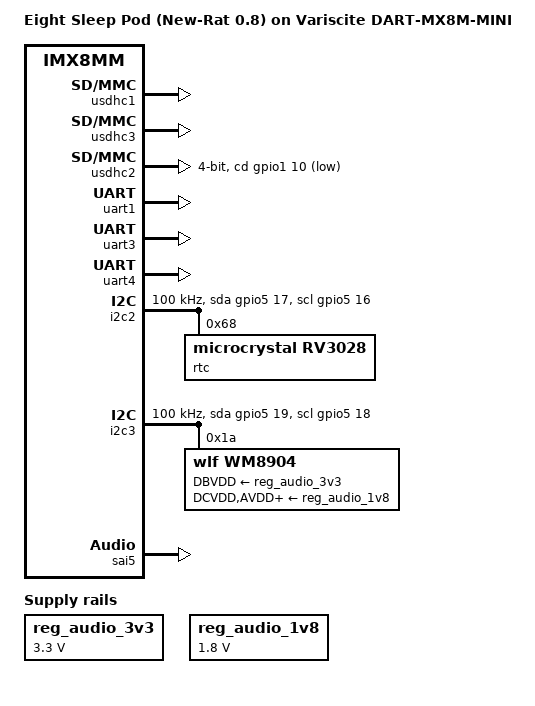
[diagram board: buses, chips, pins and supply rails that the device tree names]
// SPDX-License-Identifier: GPL-2.0
/*
 * Eight Sleep Pod ("New-Rat 0.8" carrier) — clean-room FOSS OS device tree.
 *
 * SoC : NXP i.MX8M Mini
 * SoM : Variscite DART-MX8M-MINI   (compatible "variscite,dart-mx8mm")
 * Board: Eight Sleep "New-Rat 0.8" carrier
 *
 * This file reuses the upstream Variscite DART SoM .dtsi (GPL, ships in the
 * Variscite BSP linux-imx 5.4.x kernel tree) for everything that lives on the
 * SoM — the BD71847 PMIC, on-SoM eMMC (uSDHC3), the Broadcom WiFi/BT module
 * (uSDHC1 SDIO + BT UART) and the SoC/clock/pinctrl skeleton — and then applies
 * ONLY the New-Rat carrier deltas below. It is compiled in-tree by Buildroot
 * (BR2_LINUX_KERNEL_CUSTOM_DTS_PATH copies it into
 * arch/arm64/boot/dts/freescale/), so the kernel-tree includes resolve.
 *
 * Carrier deltas expressed here:
 *   - uSDHC2 (microSD)                      -> mmc1, the published image's boot medium
 *   - UART1 (ttymxc0)                       -> Sensor STM32 MCU   (podd drives it)
 *   - UART3 (ttymxc2)                       -> Frozen STM32 MCU   (podd drives it)
 *   - UART4 (ttymxc3)                       -> console / stdout   (not broken out, harmless)
 *   - I2C2 (/dev/i2c-1)                     -> RV-3028 RTC + IS31FL3194 LED + PCAL6416A expander
 *   - I2C3                                  -> WM8904 audio codec (chime/alarm) + SAI5
 *   - FEC ethernet                          -> DISABLED (no PHY populated on this carrier)
 *
 * Anything not mentioned here (display/LVDS bridge, MIPI-DSI, touch, CAN, the
 * ECSPI SPI peripherals) is intentionally left off — not populated / not used
 * by podd. The stock vendor tree enabled some of those; the New-Rat unit does
 * not need them.
 */

/dts-v1/;

#include <dt-bindings/gpio/gpio.h>
#include <dt-bindings/pinctrl/imx8mm-pinfunc.h>

// Verified against the pinned kernel (varigit/linux-imx @ 5.4-2.3.x-imx_var01):
// imx8mm-var-dart.dtsi is the DART-MX8M-MINI SoM base — it directly defines the
// BD71847 PMIC (&i2c1), eMMC (&usdhc3), and WiFi (&usdhc1), and pulls in the SoC
// base via #include "imx8mm.dtsi". Correct single include for SoM bring-up.
#include "imx8mm-var-dart.dtsi"

/ {
	model = "Eight Sleep Pod (New-Rat 0.8) on Variscite DART-MX8M-MINI";
	compatible = "eightsleep,pod-newrat", "variscite,dart-mx8mm", "fsl,imx8mm";

	chosen {
		/* UART4. Console pins are not physically broken out on this carrier,
		 * but keeping stdout here is harmless and matches the vendor bootargs. */
		stdout-path = "serial3:115200n8";
	};

	/*
	 * LOAD-BEARING device-node numbering. podd hard-codes /dev/ttymxc0 (Sensor),
	 * /dev/ttymxc2 (Frozen) and /dev/i2c-1 (RTC + LED + expander). These aliases
	 * match the upstream i.MX8MM convention (so they are mostly redundant with
	 * the base dtsi) but are pinned explicitly here because podd depends on them.
	 */
	aliases {
		serial0 = &uart1;	/* ttymxc0 — Sensor MCU        */
		serial1 = &uart2;	/* ttymxc1 — Bluetooth (SoM)   */
		serial2 = &uart3;	/* ttymxc2 — Frozen MCU        */
		serial3 = &uart4;	/* ttymxc3 — console           */
		i2c0 = &i2c1;		/* i2c-0 — BD71847 PMIC (SoM)  */
		i2c1 = &i2c2;		/* i2c-1 — RTC + LED + expander (podd) */
		i2c2 = &i2c3;		/* i2c-2 — WM8904 audio codec  */
		i2c3 = &i2c4;		/* i2c-3 — unused              */
	};

	/* Carrier-local codec rails. In the vendor tree DBVDD came from a fixed
	 * 3V3 supply and the digital/analog rails from PMIC LDO5 (1V8). Both are
	 * always-on, so self-contained fixed regulators are functionally equivalent
	 * and keep this file independent of the base dtsi's PMIC regulator labels. */
	reg_audio_3v3: regulator-audio-3v3 {
		compatible = "regulator-fixed";
		regulator-name = "audio_3v3";
		regulator-min-microvolt = <3300000>;
		regulator-max-microvolt = <3300000>;
		regulator-always-on;
	};

	reg_audio_1v8: regulator-audio-1v8 {
		compatible = "regulator-fixed";
		regulator-name = "audio_1v8";
		regulator-min-microvolt = <1800000>;
		regulator-max-microvolt = <1800000>;
		regulator-always-on;
	};

	sound-wm8904 {
		compatible = "simple-audio-card";
		simple-audio-card,name = "wm8904-audio";
		simple-audio-card,format = "i2s";
		simple-audio-card,mclk-fs = <256>;
		simple-audio-card,bitclock-master = <&codec_dai>;
		simple-audio-card,frame-master = <&codec_dai>;
		simple-audio-card,widgets =
			"Microphone", "Microphone Jack",
			"Headphone", "Headphone Jack",
			"Line", "Line In Jack";
		simple-audio-card,routing =
			"Headphone Jack", "HPOUTL",
			"Headphone Jack", "HPOUTR",
			"IN2L", "Line In Jack",
			"IN2R", "Line In Jack",
			"IN1L", "Microphone Jack",
			"IN1R", "Microphone Jack";

		codec_dai: simple-audio-card,codec {
			sound-dai = <&wm8904>;
		};

		simple-audio-card,cpu {
			sound-dai = <&sai5>;
		};
	};
};

/* ---------------------------------------------------------------------------
 * SoM peripherals the board switches on. The DART SoM dtsi defines these (with
 * pinmux, WiFi pwrseq/brcmf child, eMMC tuning); the board only needs to enable
 * them. If the pinned base leaves any of these already "okay", these re-affirm.
 * CONFIRM(agent-C): base dtsi provides uSDHC1/uSDHC3 pinmux + WiFi child nodes.
 * ------------------------------------------------------------------------- */
&usdhc1 {			/* mmc0 — Broadcom WiFi over SDIO */
	status = "okay";
};

&usdhc3 {			/* mmc2 — on-SoM eMMC */
	status = "okay";
};

/* ---------------------------------------------------------------------------
 * microSD (uSDHC2 -> mmc1). Boot medium for the published SD image. Carrier
 * peripheral, so fully specified here.
 * ------------------------------------------------------------------------- */
&usdhc2 {
	pinctrl-names = "default", "state_100mhz", "state_200mhz";
	pinctrl-0 = <&pinctrl_usdhc2>, <&pinctrl_usdhc2_gpio>;
	pinctrl-1 = <&pinctrl_usdhc2_100mhz>, <&pinctrl_usdhc2_gpio>;
	pinctrl-2 = <&pinctrl_usdhc2_200mhz>, <&pinctrl_usdhc2_gpio>;
	cd-gpios = <&gpio1 10 GPIO_ACTIVE_LOW>;
	bus-width = <4>;
	fsl,tuning-start-tap = <20>;
	fsl,tuning-step = <2>;
	status = "okay";
};

/* ---------------------------------------------------------------------------
 * MCU + console UARTs.
 * ------------------------------------------------------------------------- */
&uart1 {			/* ttymxc0 — Sensor STM32 MCU */
	pinctrl-names = "default";
	pinctrl-0 = <&pinctrl_uart1>;
	status = "okay";
};

&uart3 {			/* ttymxc2 — Frozen STM32 MCU (TX shares the ECSPI1_MOSI pad) */
	pinctrl-names = "default";
	pinctrl-0 = <&pinctrl_uart3>;
	status = "okay";
};

&uart4 {			/* ttymxc3 — console / stdout */
	pinctrl-names = "default";
	pinctrl-0 = <&pinctrl_uart4>;
	status = "okay";
};

/* UART2 (ttymxc1) is the on-SoM Bluetooth UART; left to the base dtsi. */

/* ---------------------------------------------------------------------------
 * I2C2 == /dev/i2c-1: the podd control bus.
 *   rtc@68      RV-3028                 (kernel driver)
 *   0x53        IS31FL3194 LED ring     (userspace, podd via i2c-dev)
 *   0x20        PCAL6416A GPIO expander (userspace, podd — MCU enable/reset + button)
 * The LED and expander are deliberately NOT given kernel nodes so that i2c-dev
 * owns those addresses for podd. Only the RTC gets a kernel driver.
 * ------------------------------------------------------------------------- */
&i2c2 {
	clock-frequency = <100000>;
	pinctrl-names = "default", "gpio";
	pinctrl-0 = <&pinctrl_i2c2>;
	pinctrl-1 = <&pinctrl_i2c2_gpio>;
	scl-gpios = <&gpio5 16 GPIO_ACTIVE_HIGH>;
	sda-gpios = <&gpio5 17 GPIO_ACTIVE_HIGH>;
	status = "okay";

	rtc@68 {
		compatible = "microcrystal,rv3028";
		reg = <0x68>;
	};
};

/* ---------------------------------------------------------------------------
 * I2C3: WM8904 audio codec (chime / alarm speaker).
 * ------------------------------------------------------------------------- */
&i2c3 {
	clock-frequency = <100000>;
	pinctrl-names = "default", "gpio";
	pinctrl-0 = <&pinctrl_i2c3>;
	pinctrl-1 = <&pinctrl_i2c3_gpio>;
	scl-gpios = <&gpio5 18 GPIO_ACTIVE_HIGH>;
	sda-gpios = <&gpio5 19 GPIO_ACTIVE_HIGH>;
	status = "okay";

	wm8904: audio-codec@1a {
		compatible = "wlf,wm8904";
		reg = <0x1a>;
		#sound-dai-cells = <0>;
		clocks = <&clk 0xb8>;		/* IMX8MM_CLK_SAI5_ROOT — codec MCLK */
		clock-names = "mclk";
		DBVDD-supply = <&reg_audio_3v3>;
		DCVDD-supply = <&reg_audio_1v8>;
		AVDD-supply = <&reg_audio_1v8>;
		CPVDD-supply = <&reg_audio_1v8>;
		MICVDD-supply = <&reg_audio_1v8>;
	};
};

/* SAI5 is the I2S CPU DAI wired to the WM8904 on the carrier. Base dtsi already
 * declares its clocks/dmas; here we add the carrier pinmux and clock rate. */
&sai5 {
	#sound-dai-cells = <0>;
	pinctrl-names = "default";
	pinctrl-0 = <&pinctrl_sai5>;
	assigned-clocks = <&clk 0x70>;		/* IMX8MM_CLK_SAI5 */
	assigned-clock-parents = <&clk 0x26>;	/* IMX8MM_AUDIO_PLL1_OUT */
	assigned-clock-rates = <1536000>;
	fsl,dataline = <0 0x0f 0x0f>;
	status = "okay";
};

/* ---------------------------------------------------------------------------
 * Ethernet: the New-Rat carrier populates the FEC MAC but NO RGMII PHY (the
 * live unit reports "Unable to connect to phy"). Disable it so the kernel does
 * not waste boot time probing a PHY that is not there.
 * ------------------------------------------------------------------------- */
&fec1 {
	status = "disabled";
};

/* ---------------------------------------------------------------------------
 * Carrier pin muxing. These describe the New-Rat physical wiring (hardware
 * facts) and are re-expressed here on top of the upstream IOMUXC using the
 * standard MX8MM_IOMUXC_* pad macros. Node names are podd-prefixed only via the
 * label to avoid colliding with any group the base dtsi already defines.
 * ------------------------------------------------------------------------- */
&iomuxc {
	pinctrl_uart1: uart1grp {			/* Sensor MCU: SAI2 pads muxed to UART1 */
		fsl,pins = <
			MX8MM_IOMUXC_SAI2_RXC_UART1_DCE_RX	0x03
			MX8MM_IOMUXC_SAI2_RXFS_UART1_DCE_TX	0x140
		>;
	};

	pinctrl_uart3: uart3grp {			/* Frozen MCU: RX on UART3_RXD, TX on ECSPI1_MOSI */
		fsl,pins = <
			MX8MM_IOMUXC_UART3_RXD_UART3_DCE_RX	0x02
			MX8MM_IOMUXC_ECSPI1_MOSI_UART3_DCE_TX	0x140
		>;
	};

	pinctrl_uart4: uart4grp {			/* Console */
		fsl,pins = <
			MX8MM_IOMUXC_UART4_RXD_UART4_DCE_RX	0x140
			MX8MM_IOMUXC_UART4_TXD_UART4_DCE_TX	0x140
		>;
	};

	pinctrl_i2c2: i2c2grp {				/* /dev/i2c-1: RTC + LED + expander */
		fsl,pins = <
			MX8MM_IOMUXC_I2C2_SCL_I2C2_SCL		0x400001c3
			MX8MM_IOMUXC_I2C2_SDA_I2C2_SDA		0x400001c3
		>;
	};

	pinctrl_i2c2_gpio: i2c2grp-gpio {		/* bus-recovery bit-bang state */
		fsl,pins = <
			MX8MM_IOMUXC_I2C2_SCL_GPIO5_IO16	0x1c3
			MX8MM_IOMUXC_I2C2_SDA_GPIO5_IO17	0x1c3
		>;
	};

	pinctrl_i2c3: i2c3grp {				/* WM8904 audio codec */
		fsl,pins = <
			MX8MM_IOMUXC_I2C3_SCL_I2C3_SCL		0x400001c3
			MX8MM_IOMUXC_I2C3_SDA_I2C3_SDA		0x400001c3
		>;
	};

	pinctrl_i2c3_gpio: i2c3grp-gpio {
		fsl,pins = <
			MX8MM_IOMUXC_I2C3_SCL_GPIO5_IO18	0x1c3
			MX8MM_IOMUXC_I2C3_SDA_GPIO5_IO19	0x1c3
		>;
	};

	pinctrl_usdhc2: usdhc2grp {			/* microSD, default speed */
		fsl,pins = <
			MX8MM_IOMUXC_SD2_CLK_USDHC2_CLK		0x190
			MX8MM_IOMUXC_SD2_CMD_USDHC2_CMD		0x1d0
			MX8MM_IOMUXC_SD2_DATA0_USDHC2_DATA0	0x1d0
			MX8MM_IOMUXC_SD2_DATA1_USDHC2_DATA1	0x1d0
			MX8MM_IOMUXC_SD2_DATA2_USDHC2_DATA2	0x1d0
			MX8MM_IOMUXC_SD2_DATA3_USDHC2_DATA3	0x1d0
			MX8MM_IOMUXC_GPIO1_IO04_USDHC2_VSELECT	0x1d0
		>;
	};

	pinctrl_usdhc2_100mhz: usdhc2grp-100mhz {
		fsl,pins = <
			MX8MM_IOMUXC_SD2_CLK_USDHC2_CLK		0x194
			MX8MM_IOMUXC_SD2_CMD_USDHC2_CMD		0x1d4
			MX8MM_IOMUXC_SD2_DATA0_USDHC2_DATA0	0x1d4
			MX8MM_IOMUXC_SD2_DATA1_USDHC2_DATA1	0x1d4
			MX8MM_IOMUXC_SD2_DATA2_USDHC2_DATA2	0x1d4
			MX8MM_IOMUXC_SD2_DATA3_USDHC2_DATA3	0x1d4
			MX8MM_IOMUXC_GPIO1_IO04_USDHC2_VSELECT	0x1d0
		>;
	};

	pinctrl_usdhc2_200mhz: usdhc2grp-200mhz {
		fsl,pins = <
			MX8MM_IOMUXC_SD2_CLK_USDHC2_CLK		0x196
			MX8MM_IOMUXC_SD2_CMD_USDHC2_CMD		0x1d6
			MX8MM_IOMUXC_SD2_DATA0_USDHC2_DATA0	0x1d6
			MX8MM_IOMUXC_SD2_DATA1_USDHC2_DATA1	0x1d6
			MX8MM_IOMUXC_SD2_DATA2_USDHC2_DATA2	0x1d6
			MX8MM_IOMUXC_SD2_DATA3_USDHC2_DATA3	0x1d6
			MX8MM_IOMUXC_GPIO1_IO04_USDHC2_VSELECT	0x1d0
		>;
	};

	pinctrl_usdhc2_gpio: usdhc2grp-gpio {		/* card-detect */
		fsl,pins = <
			MX8MM_IOMUXC_GPIO1_IO10_GPIO1_IO10	0xc1
		>;
	};

	pinctrl_sai5: sai5grp {				/* WM8904 I2S (full-duplex) + MCLK */
		fsl,pins = <
			MX8MM_IOMUXC_SAI5_RXFS_SAI5_RX_SYNC	0xd6
			MX8MM_IOMUXC_SAI5_RXC_SAI5_RX_BCLK	0xd6
			MX8MM_IOMUXC_SAI5_RXD0_SAI5_RX_DATA0	0xd6
			MX8MM_IOMUXC_SAI5_RXD1_SAI5_TX_SYNC	0xd6
			MX8MM_IOMUXC_SAI5_RXD2_SAI5_TX_BCLK	0xd6
			MX8MM_IOMUXC_SAI5_RXD3_SAI5_TX_DATA0	0xd6
			MX8MM_IOMUXC_SAI5_MCLK_SAI5_MCLK	0xd6
		>;
	};
};
